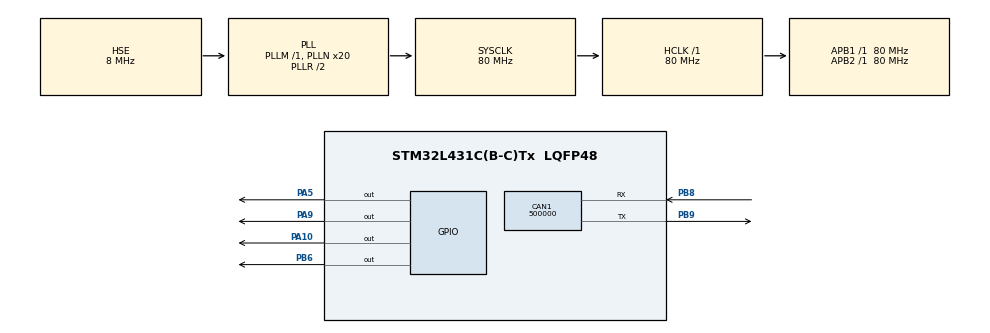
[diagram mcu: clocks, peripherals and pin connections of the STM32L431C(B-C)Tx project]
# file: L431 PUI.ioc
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CAN1.BS1=CAN_BS1_4TQ
CAN1.BS2=CAN_BS2_5TQ
CAN1.CalculateBaudRate=500000
CAN1.CalculateTimeBit=2000
CAN1.CalculateTimeQuantum=200.0
Mcu.Family=STM32L4
Mcu.Name=STM32L431C(B-C)Tx
Mcu.Package=LQFP48
NVIC.CAN1_RX0_IRQn=true\:0\:0\:false\:false\:true\:true\:true\:true
NVIC.PriorityGroup=NVIC_PRIORITYGROUP_4
PA10.Signal=GPIO_Output
PA13\ (JTMS-SWDIO).Mode=Serial_Wire
PA13\ (JTMS-SWDIO).Signal=SYS_JTMS-SWDIO
PA14\ (JTCK-SWCLK).Mode=Serial_Wire
PA14\ (JTCK-SWCLK).Signal=SYS_JTCK-SWCLK
PA5.Signal=GPIO_Output
PA9.Signal=GPIO_Output
PB6.Signal=GPIO_Output
PB8.Mode=CAN_Activate
PB8.Signal=CAN1_RX
PB9.Mode=CAN_Activate
PB9.Signal=CAN1_TX
PH0-OSC_IN\ (PH0).Mode=HSE-External-Oscillator
PH0-OSC_IN\ (PH0).Signal=RCC_OSC_IN
PH1-OSC_OUT\ (PH1).Mode=HSE-External-Oscillator
PH1-OSC_OUT\ (PH1).Signal=RCC_OSC_OUT
ProjectManager.HeapSize=0x200
ProjectManager.StackSize=0x400
ProjectManager.TargetToolchain=STM32CubeIDE
RCC.ADCFreq_Value=32000000
RCC.AHBFreq_Value=80000000
RCC.APB1Freq_Value=80000000
RCC.APB1TimFreq_Value=80000000
RCC.APB2Freq_Value=80000000
RCC.APB2TimFreq_Value=80000000
RCC.CortexFreq_Value=80000000
RCC.HCLKFreq_Value=80000000
RCC.HSE_VALUE=8000000
RCC.HSI48_VALUE=48000000
RCC.HSI_VALUE=16000000
RCC.LSE_VALUE=32768
RCC.MSI_VALUE=4000000
RCC.PLLN=20
RCC.PLLSourceVirtual=RCC_PLLSOURCE_HSE
RCC.SYSCLKFreq_VALUE=80000000
RCC.SYSCLKSource=RCC_SYSCLKSOURCE_PLLCLK
RCC.VCOOutputFreq_Value=160000000
board=custom

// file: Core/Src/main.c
/* USER CODE BEGIN Header */
/**
 ******************************************************************************
 * @file           : main.c
 * @brief          : Main program body
 ******************************************************************************
 * @attention
 *
 * Copyright (c) 2026 STMicroelectronics.
 * All rights reserved.
 *
 * This software is licensed under terms that can be found in the LICENSE file
 * in the root directory of this software component.
 * If no LICENSE file comes with this software, it is provided AS-IS.
 *
 ******************************************************************************
 */
/* USER CODE END Header */
#include "main.h"

/* USER CODE BEGIN PD */
// ==================== L431 CAN Protocol Defines ====================
#define L431_RX_CAN_ID 0x100 // Receive from Android
#define L431_TX_CAN_ID 0x101 // Send to Android (ACK)

// Command bytes
#define CMD_POWER_ON 0x01  // PA9=HIGH, PA10=HIGH
#define CMD_POWER_OFF 0x02 // PA5=HIGH, PA9=LOW, PA10=LOW
#define CMD_HEARTBEAT 0x03 // Toggle PB6

// Acknowledgment bytes
#define ACK_POWER_ON 0xAA
#define ACK_POWER_OFF 0xBB
#define ACK_HEARTBEAT 0xCC
/* USER CODE END PD */

CAN_HandleTypeDef hcan1;

/* USER CODE BEGIN PV */
// CAN RX structures
CAN_RxHeaderTypeDef RxHeader;
uint8_t RxData[8];

// CAN TX structures
CAN_TxHeaderTypeDef TxHeader;
uint8_t TxData[8];
uint32_t TxMailbox;
/* USER CODE END PV */

void SystemClock_Config(void);
static void MX_GPIO_Init(void);
static void MX_CAN1_Init(void);
/* USER CODE BEGIN PFP */
void CAN_Filter_Config(void);
void L431_ProcessCommand(uint8_t cmd);
void L431_SendAck(uint8_t ack_byte);
/* USER CODE END PFP */

int main(void) {

  /* MCU Configuration--------------------------------------------------------*/

  /* Reset of all peripherals, Initializes the Flash interface and the Systick.
   */
  HAL_Init();

  /* Configure the system clock */
  SystemClock_Config();

  /* Initialize all configured peripherals */
  MX_GPIO_Init();
  MX_CAN1_Init();
  /* USER CODE BEGIN 2 */
  // Configure CAN Filter for L431 ID (0x100)
  CAN_Filter_Config();

  // Start CAN peripheral
  if (HAL_CAN_Start(&hcan1) != HAL_OK) {
    Error_Handler();
  }

  // Enable CAN RX interrupt
  if (HAL_CAN_ActivateNotification(&hcan1, CAN_IT_RX_FIFO0_MSG_PENDING) !=
      HAL_OK) {
    Error_Handler();
  }

  // Initial GPIO state: All OFF
  HAL_GPIO_WritePin(GPIOA, GPIO_PIN_5 | GPIO_PIN_9 | GPIO_PIN_10,
                    GPIO_PIN_RESET);
  HAL_GPIO_WritePin(GPIOB, GPIO_PIN_6, GPIO_PIN_RESET);
  /* USER CODE END 2 */

  /* Infinite loop */
  while (1) {

  }
}

void SystemClock_Config(void) {
  RCC_OscInitTypeDef RCC_OscInitStruct = {0};
  RCC_ClkInitTypeDef RCC_ClkInitStruct = {0};

  /** Configure the main internal regulator output voltage
   */
  if (HAL_PWREx_ControlVoltageScaling(PWR_REGULATOR_VOLTAGE_SCALE1) != HAL_OK) {
    Error_Handler();
  }

  /** Initializes the RCC Oscillators according to the specified parameters
   * in the RCC_OscInitTypeDef structure.
   */
  RCC_OscInitStruct.OscillatorType = RCC_OSCILLATORTYPE_HSE;
  RCC_OscInitStruct.HSEState = RCC_HSE_ON;
  RCC_OscInitStruct.PLL.PLLState = RCC_PLL_ON;
  RCC_OscInitStruct.PLL.PLLSource = RCC_PLLSOURCE_HSE;
  RCC_OscInitStruct.PLL.PLLM = 1;
  RCC_OscInitStruct.PLL.PLLN = 20;
  RCC_OscInitStruct.PLL.PLLP = RCC_PLLP_DIV7;
  RCC_OscInitStruct.PLL.PLLQ = RCC_PLLQ_DIV2;
  RCC_OscInitStruct.PLL.PLLR = RCC_PLLR_DIV2;
  if (HAL_RCC_OscConfig(&RCC_OscInitStruct) != HAL_OK) {
    Error_Handler();
  }

  /** Initializes the CPU, AHB and APB buses clocks
   */
  RCC_ClkInitStruct.ClockType = RCC_CLOCKTYPE_HCLK | RCC_CLOCKTYPE_SYSCLK |
                                RCC_CLOCKTYPE_PCLK1 | RCC_CLOCKTYPE_PCLK2;
  RCC_ClkInitStruct.SYSCLKSource = RCC_SYSCLKSOURCE_PLLCLK;
  RCC_ClkInitStruct.AHBCLKDivider = RCC_SYSCLK_DIV1;
  RCC_ClkInitStruct.APB1CLKDivider = RCC_HCLK_DIV1;
  RCC_ClkInitStruct.APB2CLKDivider = RCC_HCLK_DIV1;

  if (HAL_RCC_ClockConfig(&RCC_ClkInitStruct, FLASH_LATENCY_4) != HAL_OK) {
    Error_Handler();
  }
}

static void MX_CAN1_Init(void) {

  hcan1.Instance = CAN1;
  hcan1.Init.Prescaler = 16;
  hcan1.Init.Mode = CAN_MODE_NORMAL;
  hcan1.Init.SyncJumpWidth = CAN_SJW_1TQ;
  hcan1.Init.TimeSeg1 = CAN_BS1_4TQ;
  hcan1.Init.TimeSeg2 = CAN_BS2_5TQ;
  hcan1.Init.TimeTriggeredMode = DISABLE;
  hcan1.Init.AutoBusOff = DISABLE;
  hcan1.Init.AutoWakeUp = DISABLE;
  hcan1.Init.AutoRetransmission = DISABLE;
  hcan1.Init.ReceiveFifoLocked = DISABLE;
  hcan1.Init.TransmitFifoPriority = DISABLE;
  if (HAL_CAN_Init(&hcan1) != HAL_OK) {
    Error_Handler();
  }
}

static void MX_GPIO_Init(void) {
  GPIO_InitTypeDef GPIO_InitStruct = {0};

  /* GPIO Ports Clock Enable */
  __HAL_RCC_GPIOH_CLK_ENABLE();
  __HAL_RCC_GPIOA_CLK_ENABLE();
  __HAL_RCC_GPIOB_CLK_ENABLE();

  /*Configure GPIO pin Output Level */
  HAL_GPIO_WritePin(GPIOA, GPIO_PIN_5 | GPIO_PIN_9 | GPIO_PIN_10,
                    GPIO_PIN_RESET);

  /*Configure GPIO pin Output Level */
  HAL_GPIO_WritePin(GPIOB, GPIO_PIN_6, GPIO_PIN_RESET);

  /*Configure GPIO pins : PA5 PA9 PA10 */
  GPIO_InitStruct.Pin = GPIO_PIN_5 | GPIO_PIN_9 | GPIO_PIN_10;
  GPIO_InitStruct.Mode = GPIO_MODE_OUTPUT_PP;
  GPIO_InitStruct.Pull = GPIO_NOPULL;
  GPIO_InitStruct.Speed = GPIO_SPEED_FREQ_LOW;
  HAL_GPIO_Init(GPIOA, &GPIO_InitStruct);

  /*Configure GPIO pin : PB6 */
  GPIO_InitStruct.Pin = GPIO_PIN_6;
  GPIO_InitStruct.Mode = GPIO_MODE_OUTPUT_PP;
  GPIO_InitStruct.Pull = GPIO_NOPULL;
  GPIO_InitStruct.Speed = GPIO_SPEED_FREQ_LOW;
  HAL_GPIO_Init(GPIOB, &GPIO_InitStruct);

}

/* USER CODE BEGIN 4 */

/**
 * @brief Configure CAN Filter to accept only L431 commands (ID = 0x100)
 */
void CAN_Filter_Config(void) {
  CAN_FilterTypeDef sFilterConfig;

  sFilterConfig.FilterBank = 0;
  sFilterConfig.FilterMode = CAN_FILTERMODE_IDMASK;
  sFilterConfig.FilterScale = CAN_FILTERSCALE_32BIT;

  // Accept only CAN ID 0x100 (L431 commands)
  sFilterConfig.FilterIdHigh =
      (L431_RX_CAN_ID << 5); // Standard ID in high bits
  sFilterConfig.FilterIdLow = 0x0000;
  sFilterConfig.FilterMaskIdHigh = (0x7FF << 5); // Match exact ID
  sFilterConfig.FilterMaskIdLow = 0x0000;

  sFilterConfig.FilterFIFOAssignment = CAN_FILTER_FIFO0;
  sFilterConfig.FilterActivation = ENABLE;
  sFilterConfig.SlaveStartFilterBank = 14;

  if (HAL_CAN_ConfigFilter(&hcan1, &sFilterConfig) != HAL_OK) {
    Error_Handler();
  }
}

/**
 * @brief Process received L431 command
 * @param cmd Command byte (0x01=ON, 0x02=OFF, 0x03=Heartbeat)
 */
void L431_ProcessCommand(uint8_t cmd) {
  switch (cmd) {
  case CMD_POWER_ON:
    // PA9=HIGH, PA10=HIGH, PA5=LOW
    HAL_GPIO_WritePin(GPIOA, GPIO_PIN_5, GPIO_PIN_RESET);
    HAL_GPIO_WritePin(GPIOA, GPIO_PIN_9 | GPIO_PIN_10, GPIO_PIN_SET);
    L431_SendAck(ACK_POWER_ON);
    break;

  case CMD_POWER_OFF:
    // PA5=HIGH, PA9=LOW, PA10=LOW
    HAL_GPIO_WritePin(GPIOA, GPIO_PIN_9 | GPIO_PIN_10, GPIO_PIN_RESET);
    HAL_GPIO_WritePin(GPIOA, GPIO_PIN_5, GPIO_PIN_SET);
    L431_SendAck(ACK_POWER_OFF);
    break;

  case CMD_HEARTBEAT:
    // Toggle PB6
    HAL_GPIO_TogglePin(GPIOB, GPIO_PIN_6);
    L431_SendAck(ACK_HEARTBEAT);
    break;

  default:
    // Unknown command - ignore
    break;
  }
}

/**
 * @brief Send acknowledgment to Android via CAN
 * @param ack_byte Acknowledgment byte to send
 */
void L431_SendAck(uint8_t ack_byte) {
  TxHeader.StdId = L431_TX_CAN_ID; // 0x101
  TxHeader.ExtId = 0;
  TxHeader.RTR = CAN_RTR_DATA;
  TxHeader.IDE = CAN_ID_STD;
  TxHeader.DLC = 1; // 1 byte
  TxHeader.TransmitGlobalTime = DISABLE;

  TxData[0] = ack_byte;

  // Send (ignore errors for now)
  HAL_CAN_AddTxMessage(&hcan1, &TxHeader, TxData, &TxMailbox);
}

/**
 * @brief CAN RX FIFO0 Message Pending Callback
 *        Called when a new CAN message arrives
 */
void HAL_CAN_RxFifo0MsgPendingCallback(CAN_HandleTypeDef *hcan) {
  if (HAL_CAN_GetRxMessage(hcan, CAN_RX_FIFO0, &RxHeader, RxData) == HAL_OK) {
    // Verify it's our ID (filter should already do this)
    if (RxHeader.StdId == L431_RX_CAN_ID) {
      // Process the command (first byte)
      if (RxHeader.DLC >= 1) {
        L431_ProcessCommand(RxData[0]);
      }
    }
  }
}

/* USER CODE END 4 */

void Error_Handler(void) {
  __disable_irq();
  while (1) {
  }
}

#ifdef USE_FULL_ASSERT
/**
 * @brief  Reports the name of the source file and the source line number
 *         where the assert_param error has occurred.
 * @param  file: pointer to the source file name
 * @param  line: assert_param error line source number
 * @retval None
 */
void assert_failed(uint8_t *file, uint32_t line) {
  /* USER CODE BEGIN 6 */
  /* User can add his own implementation to report the file name and line
     number, ex: printf("Wrong parameters value: file %s on line %d\r\n", file,
     line) */
  /* USER CODE END 6 */
}
#endif /* USE_FULL_ASSERT */
